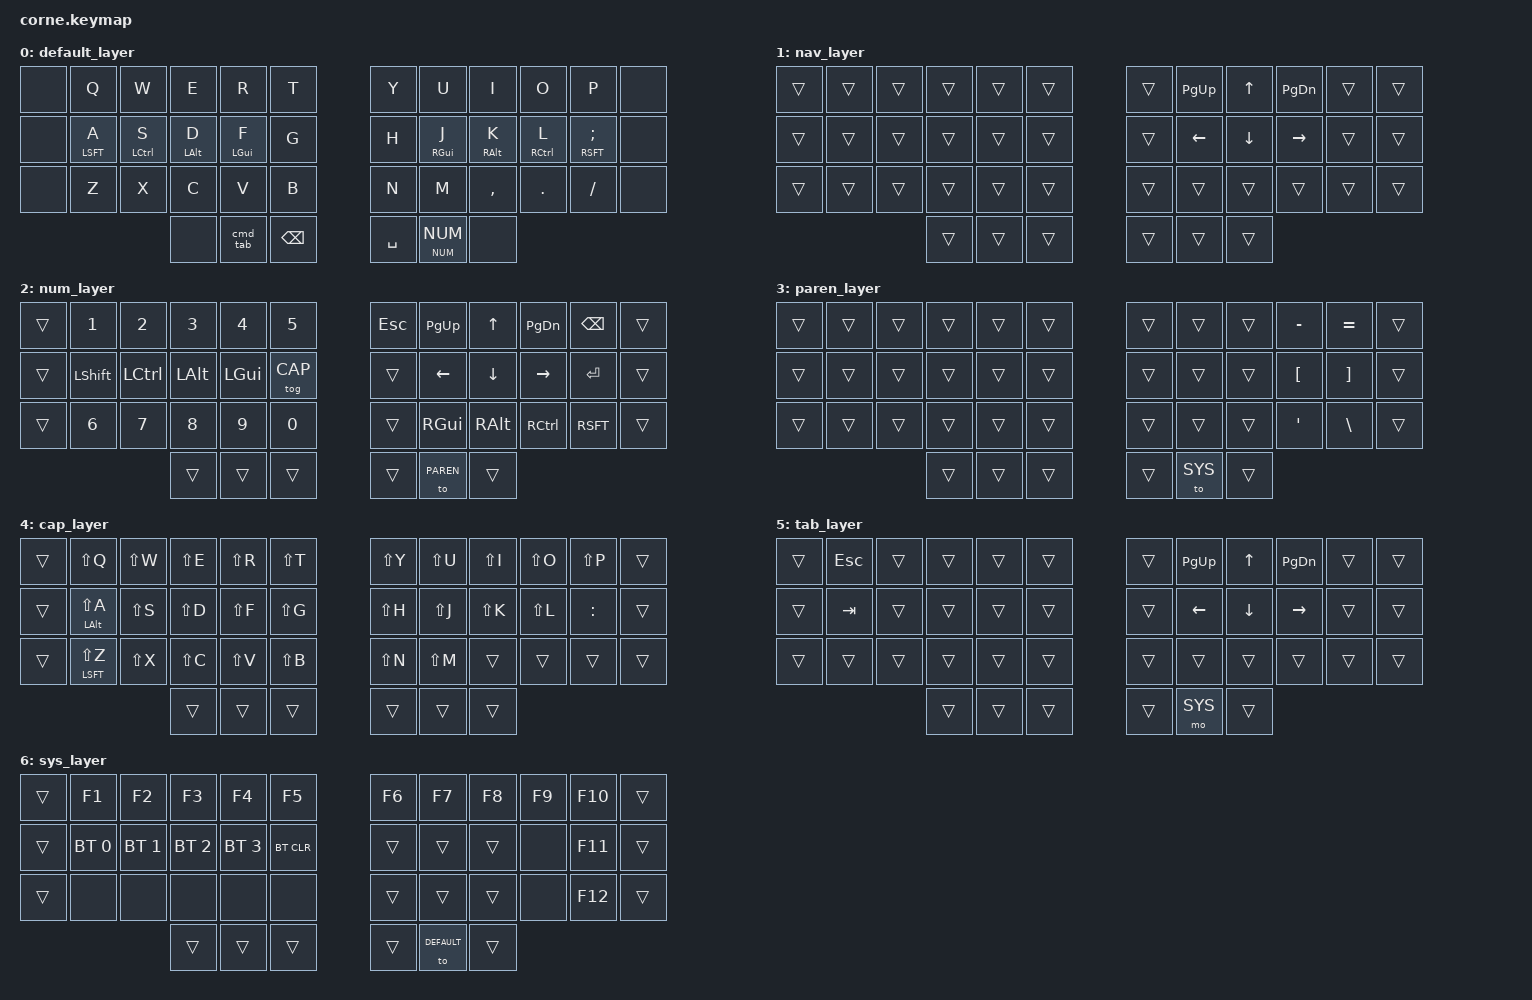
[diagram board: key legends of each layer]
/*
 * Copyright (c) 2020 The ZMK Contributors
 *
 * SPDX-License-Identifier: MIT
 */

#include <behaviors.dtsi>
#include <dt-bindings/zmk/keys.h>
#include <dt-bindings/zmk/bt.h>
#include <dt-bindings/zmk/modifiers.h>
#include <dt-bindings/zmk/outputs.h>
#include <dt-bindings/zmk/rgb.h>
#include <dt-bindings/zmk/ext_power.h>
#include <dt-bindings/zmk/outputs.h>
// #include <behaviors.dtsi>

#define DEFAULT 0
#define NAV     1
#define NUM     2
#define PAREN   3
#define CAP     4
#define TABL    5
#define SYS     6

#define NONE 0

        &lt {
                tapping-term-ms = <150>;
                flavor = "hold-preferred";
        };

        &mt {
                tapping-term-ms = <150>;
                flavor = "tap-preferred";
        };

        &sk {
                release-after-ms = <2000>;
        };

//    &none &phtl LSFT A &phtl LCTRL S &phtl LALT D &phtl LGUI F &kp G                &kp H &ptr RGUI J  &phtr RALT K  &phtr RCTRL L &phtr RSFT SEMI &none

/ {
            behaviors {
        pht: homerow_mod {
            compatible = "zmk,behavior-hold-tap";
            label = "POSITIONAL_HOLD_TAP_CENTRAL";
            #binding-cells = <2>;
            flavor = "tap-preferred";
            tapping-term-ms = <200>;
            quick-tap-ms = <150>;
            bindings = <&kp>, <&kp>;
        };
        phtl: homerow_mod_left {
            compatible = "zmk,behavior-hold-tap";
            label = "POSITIONAL_HOLD_TAP_LEFT_HOME";
            #binding-cells = <2>;
            flavor = "tap-preferred";
            tapping-term-ms = <200>;
            quick-tap-ms = <150>;
            bindings = <&kp>, <&kp>;
            hold-trigger-key-positions = <7 8 9 10 11 12 19 20 21 22 23 24 31 32 33 34 35 36>;
        };
        phtr: homerow_mod_right {
            compatible = "zmk,behavior-hold-tap";
            label = "POSITIONAL_HOLD_TAP_RIGHT_HOME";
            #binding-cells = <2>;
            flavor = "tap-preferred";
            tapping-term-ms = <200>;
            quick-tap-ms = <150>;
            bindings = <&kp>, <&kp>;
            hold-trigger-key-positions = <1 2 3 4 5 6 13 14 15 16 17 18 25 26 27 28 29 30>;
        };
        htll: hold_tap_layer_layer {
            compatible = "zmk,behavior-hold-tap";
            label = "POSITIONAL_HOLD_TAP_RIGHT_HOME";
            #binding-cells = <2>;
            flavor = "hold-preferred";
            tapping-term-ms = <150>;
            bindings = <&mo>, <&to>;
        };
        macros {
                cmd_tab: cmd_tab {
                label = "ZM_zed_em_kay";
                compatible = "zmk,behavior-macro";
                #binding-cells = <0>;
                bindings
                        = <&to DEFAULT>,
                          <&macro_press &mo TABL &kp LGUI >,
                          <&macro_pause_for_release>,
                          <&macro_release &mo TABL &kp LGUI>
                        ;
                };
        };
    };

        keymap {
                compatible = "zmk,keymap";

                default_layer {
                        bindings = <
   &none &kp Q &kp W &kp E &kp R &kp T                &kp Y &kp U  &kp I  &kp O  &kp P &none
   &none &pht LSFT A &pht LCTRL S &pht LALT D &pht LGUI F &kp G          &kp H &pht RGUI J  &pht RALT K  &pht RCTRL L &pht RSFT SEMI &none
   &none &kp Z &kp X &kp C &kp V &kp B                &kp N &kp M  &kp COMMA &kp DOT &kp FSLH &none
        &none &cmd_tab &kp BSPC      &kp SPC &htll NUM NUM &none
                        >;
                };
                
                nav_layer {
                        bindings = <
   &trans  &trans &trans &trans &trans &trans          &trans &kp PAGE_UP  &kp UP &kp PAGE_DOWN &trans &trans     
   &trans  &trans &trans &trans &trans &trans          &trans &kp LEFT &kp DOWN &kp RIGHT &trans &trans     
   &trans  &trans &trans &trans &trans &trans          &trans &trans &trans &trans &trans &trans     
                         &trans  &trans  &trans    &trans &trans &trans
                        >;
                };
                
                num_layer {
                        bindings = <
   &trans &kp N1  &kp N2  &kp N3  &kp N4  &kp N5         &kp ESC &kp PAGE_UP  &kp UP &kp PAGE_DOWN &kp BSPC &trans
   &trans &kp LSHFT &kp LCTRL &kp LALT &kp LGUI &tog CAP              &trans &kp LEFT &kp DOWN &kp RIGHT &kp RET &trans
   &trans &kp N6 &kp N7 &kp N8 &kp N9 &kp N0             &trans &kp RGUI &kp RALT &kp RCTRL &kp RSFT &trans
                                   &trans &trans &trans   &trans &to PAREN &trans
                        >;
                };

                paren_layer {
                        bindings = <
   &trans &trans &trans  &trans  &trans  &trans         &trans &trans  &trans &kp MINUS &kp EQUAL &trans
   &trans &trans &trans &trans &trans &trans              &trans &trans &trans &kp LBKT &kp RBKT &trans
   &trans &trans &trans &trans &trans &trans             &trans &trans &trans &kp SQT &kp BSLH &trans
                                   &trans &trans &trans   &trans &to SYS &trans
                        >;
                };


                cap_layer {
                        bindings = <
   &trans &kp LS(Q) &kp LS(W) &kp LS(E) &kp LS(R) &kp LS(T)        &kp LS(Y) &kp LS(U)  &kp LS(I)  &kp LS(O)  &kp LS(P)    &trans
   &trans &mt LALT LS(A) &kp LS(S) &kp LS(D) &kp LS(F) &kp LS(G)   &kp LS(H) &kp LS(J)  &kp LS(K)  &kp LS(L)   &kp COLON  &trans
   &trans &mt LSFT LS(Z) &kp LS(X) &kp LS(C) &kp LS(V) &kp LS(B)   &kp LS(N) &kp LS(M)  &trans &trans &trans &trans
                                       &trans &trans &trans          &trans &trans &trans
                        >;
                };

                tab_layer {
                        bindings = <
   &trans &kp ESC &trans  &trans  &trans  &trans         &trans &kp PAGE_UP  &kp UP &kp PAGE_DOWN &trans &trans
   &trans &kp TAB &trans &trans &trans &trans              &trans &kp LEFT &kp DOWN &kp RIGHT &trans &trans
   &trans &trans &trans &trans &trans &trans             &trans &trans &trans &trans &trans &trans
                                   &trans &trans &trans   &trans &mo SYS &trans
                        >;
                };

                sys_layer {
                        bindings = <
   &trans  &kp F1 &kp F2 &kp F3 &kp F4  &kp F5                                      &kp F6 &kp F7 &kp F8 &kp F9 &kp F10 &trans     
   &trans  &bt BT_SEL 0 &bt BT_SEL 1  &bt BT_SEL 2   &bt BT_SEL 3  &bt BT_CLR       &trans &trans &trans &none &kp F11 &trans
   &trans  &none &none &none  &none  &none                                          &trans &trans &trans &none &kp F12 &trans       
                                           &trans  &trans  &trans               &trans &to DEFAULT &trans
                        >;
                };       
   
      };
};


&spi3 {
  compatible = "nordic,nrf-spim";
  status = "okay";

  pinctrl-0 = <&spi3_default>;
  pinctrl-1 = <&spi3_sleep>;
  pinctrl-names = "default", "sleep";

  led_strip: ws2812@0 {
    compatible = "worldsemi,ws2812-spi";
    label = "WS2812";

    /* SPI */
    reg = <0>; /* ignored, but necessary for SPI bindings */
    spi-max-frequency = <4000000>;

    /* WS2812 */
    chain-length = <10>; /* number of LEDs */
    spi-one-frame = <0x70>;
    spi-zero-frame = <0x40>;
    color-mapping = <LED_COLOR_ID_GREEN
                          LED_COLOR_ID_RED
                          LED_COLOR_ID_BLUE>;
  };
};
/ {
	chosen {
		zmk,underglow = &led_strip;
	};
};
